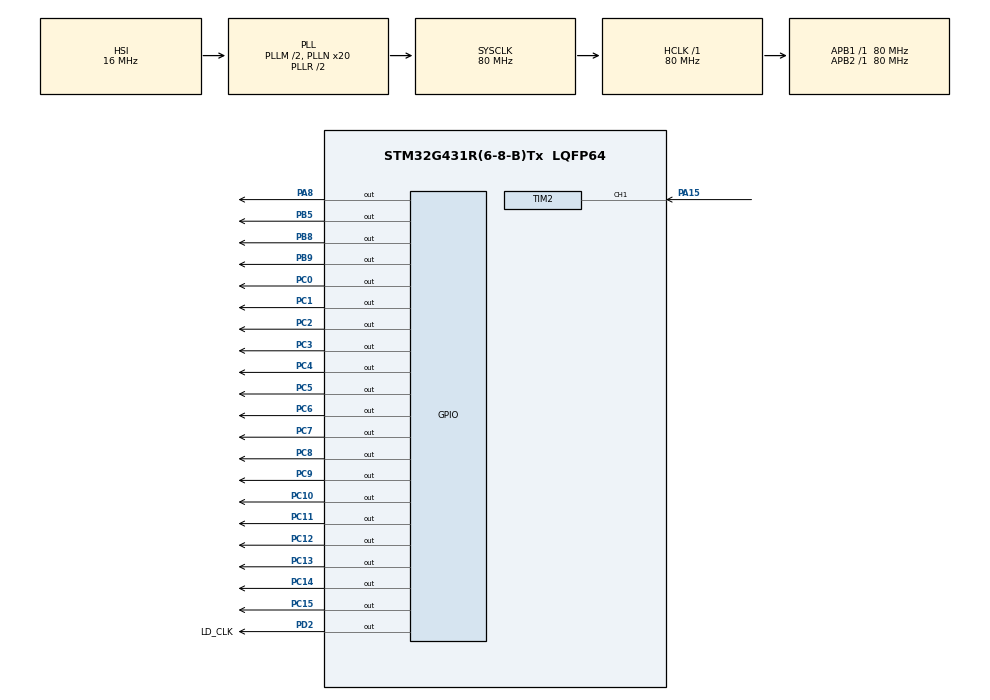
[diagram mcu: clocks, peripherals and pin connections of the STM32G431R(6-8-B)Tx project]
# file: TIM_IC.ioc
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Mcu.Family=STM32G4
Mcu.Name=STM32G431R(6-8-B)Tx
Mcu.Package=LQFP64
NVIC.PriorityGroup=NVIC_PRIORITYGROUP_4
NVIC.TIM2_IRQn=true\:0\:0\:false\:false\:true\:true\:true
PA15.Signal=S_TIM2_CH1
PA8.Signal=GPIO_Output
PB5.Signal=GPIO_Output
PB8-BOOT0.Signal=GPIO_Output
PB9.Signal=GPIO_Output
PC0.Signal=GPIO_Output
PC1.Signal=GPIO_Output
PC10.Signal=GPIO_Output
PC11.Signal=GPIO_Output
PC12.Signal=GPIO_Output
PC13.Signal=GPIO_Output
PC14-OSC32_IN.Signal=GPIO_Output
PC15-OSC32_OUT.Signal=GPIO_Output
PC2.Signal=GPIO_Output
PC3.Signal=GPIO_Output
PC4.Signal=GPIO_Output
PC5.Signal=GPIO_Output
PC6.Signal=GPIO_Output
PC7.Signal=GPIO_Output
PC8.Signal=GPIO_Output
PC9.Signal=GPIO_Output
PD2.GPIO_Label=LD_CLK
PD2.Signal=GPIO_Output
PF0-OSC_IN.Mode=HSE-External-Oscillator
PF0-OSC_IN.Signal=RCC_OSC_IN
PF1-OSC_OUT.Mode=HSE-External-Oscillator
PF1-OSC_OUT.Signal=RCC_OSC_OUT
ProjectManager.HeapSize=0x200
ProjectManager.StackSize=0x400
ProjectManager.TargetToolchain=MDK-ARM V5.27
RCC.ADC12Freq_Value=80000000
RCC.AHBFreq_Value=80000000
RCC.APB1Freq_Value=80000000
RCC.APB1TimFreq_Value=80000000
RCC.APB2Freq_Value=80000000
RCC.APB2TimFreq_Value=80000000
RCC.CortexFreq_Value=80000000
RCC.EXTERNAL_CLOCK_VALUE=12288000
RCC.HCLKFreq_Value=80000000
RCC.HSE_VALUE=24000000
RCC.HSI48_VALUE=48000000
RCC.HSI_VALUE=16000000
RCC.LSE_VALUE=32768
RCC.PLLM=RCC_PLLM_DIV2
RCC.PLLN=20
RCC.SYSCLKFreq_VALUE=80000000
RCC.SYSCLKSource=RCC_SYSCLKSOURCE_PLLCLK
RCC.USBFreq_Value=80000000
RCC.VCOOutputFreq_Value=160000000
SH.S_TIM2_CH1.0=TIM2_CH1,Input_Capture1_from_TI1
SH.S_TIM2_CH1.1=TIM2_CH1,Input_Capture2_from_TI1
SH.S_TIM2_CH1.2=TIM2_CH1,TriggerSource_TI1FP1
TIM2.Channel-Input_Capture1_from_TI1=TIM_CHANNEL_1
TIM2.Channel-Input_Capture2_from_TI1=TIM_CHANNEL_2
TIM2.ICPolarity_CH2=TIM_INPUTCHANNELPOLARITY_FALLING
TIM2.PeriodNoDither=0xffffffff
VP_SYS_VS_DBSignals.Mode=DisableDeadBatterySignals
VP_TIM2_VS_ClockSourceINT.Mode=Internal
VP_TIM2_VS_ControllerModeReset.Mode=Reset Mode
board=custom

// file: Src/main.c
/* USER CODE BEGIN Header */
/**
  ******************************************************************************
  * @file           : main.c
  * @brief          : Main program body
  ******************************************************************************
  * @attention
  *
  * <h2><center>&copy; Copyright (c) 2021 STMicroelectronics.
  * All rights reserved.</center></h2>
  *
  * This software component is licensed by ST under BSD 3-Clause license,
  * the "License"; You may not use this file except in compliance with the
  * License. You may obtain a copy of the License at:
  *                        opensource.org/licenses/BSD-3-Clause
  *
  ******************************************************************************
  */
/* USER CODE END Header */
#include "main.h"

/* USER CODE BEGIN Includes */
#include <stdio.h>
#include "lcd.h"
/* USER CODE END Includes */

TIM_HandleTypeDef htim2;

/* USER CODE BEGIN PV */
/* Captured Value */
__IO uint32_t            uwIC2Value = 0;
/* Duty Cycle Value */
__IO uint32_t            uwDutyCycle = 0;
/* Frequency Value */
__IO uint32_t            uwFrequency = 0;

uint8_t buf[30];
/* USER CODE END PV */

void SystemClock_Config(void);
static void MX_GPIO_Init(void);
static void MX_TIM2_Init(void);

int main(void)
{

  /* MCU Configuration--------------------------------------------------------*/

  /* Reset of all peripherals, Initializes the Flash interface and the Systick. */
  HAL_Init();

  /* Configure the system clock */
  SystemClock_Config();

  /* Initialize all configured peripherals */
  MX_GPIO_Init();
  MX_TIM2_Init();
  /* USER CODE BEGIN 2 */
	LCD_Init();
	LCD_Clear(White);
	LCD_SetBackColor(White);
	LCD_SetTextColor(Black);
	HAL_TIM_IC_Start_IT(&htim2, TIM_CHANNEL_1);
	HAL_TIM_IC_Start_IT(&htim2, TIM_CHANNEL_2);
  /* USER CODE END 2 */

  /* Infinite loop */
  while (1)
  {

  }
}

void SystemClock_Config(void)
{
  RCC_OscInitTypeDef RCC_OscInitStruct = {0};
  RCC_ClkInitTypeDef RCC_ClkInitStruct = {0};

  /** Configure the main internal regulator output voltage
  */
  HAL_PWREx_ControlVoltageScaling(PWR_REGULATOR_VOLTAGE_SCALE1);
  /** Initializes the RCC Oscillators according to the specified parameters
  * in the RCC_OscInitTypeDef structure.
  */
  RCC_OscInitStruct.OscillatorType = RCC_OSCILLATORTYPE_HSI;
  RCC_OscInitStruct.HSIState = RCC_HSI_ON;
  RCC_OscInitStruct.HSICalibrationValue = RCC_HSICALIBRATION_DEFAULT;
  RCC_OscInitStruct.PLL.PLLState = RCC_PLL_ON;
  RCC_OscInitStruct.PLL.PLLSource = RCC_PLLSOURCE_HSI;
  RCC_OscInitStruct.PLL.PLLM = RCC_PLLM_DIV2;
  RCC_OscInitStruct.PLL.PLLN = 20;
  RCC_OscInitStruct.PLL.PLLP = RCC_PLLP_DIV2;
  RCC_OscInitStruct.PLL.PLLQ = RCC_PLLQ_DIV2;
  RCC_OscInitStruct.PLL.PLLR = RCC_PLLR_DIV2;
  if (HAL_RCC_OscConfig(&RCC_OscInitStruct) != HAL_OK)
  {
    Error_Handler();
  }
  /** Initializes the CPU, AHB and APB buses clocks
  */
  RCC_ClkInitStruct.ClockType = RCC_CLOCKTYPE_HCLK|RCC_CLOCKTYPE_SYSCLK
                              |RCC_CLOCKTYPE_PCLK1|RCC_CLOCKTYPE_PCLK2;
  RCC_ClkInitStruct.SYSCLKSource = RCC_SYSCLKSOURCE_PLLCLK;
  RCC_ClkInitStruct.AHBCLKDivider = RCC_SYSCLK_DIV1;
  RCC_ClkInitStruct.APB1CLKDivider = RCC_HCLK_DIV1;
  RCC_ClkInitStruct.APB2CLKDivider = RCC_HCLK_DIV1;

  if (HAL_RCC_ClockConfig(&RCC_ClkInitStruct, FLASH_LATENCY_2) != HAL_OK)
  {
    Error_Handler();
  }
}

static void MX_TIM2_Init(void)
{

  TIM_ClockConfigTypeDef sClockSourceConfig = {0};
  TIM_SlaveConfigTypeDef sSlaveConfig = {0};
  TIM_MasterConfigTypeDef sMasterConfig = {0};
  TIM_IC_InitTypeDef sConfigIC = {0};

  htim2.Instance = TIM2;
  htim2.Init.Prescaler = 0;
  htim2.Init.CounterMode = TIM_COUNTERMODE_UP;
  htim2.Init.Period = 4.294967295E9;
  htim2.Init.ClockDivision = TIM_CLOCKDIVISION_DIV1;
  htim2.Init.AutoReloadPreload = TIM_AUTORELOAD_PRELOAD_DISABLE;
  if (HAL_TIM_Base_Init(&htim2) != HAL_OK)
  {
    Error_Handler();
  }
  sClockSourceConfig.ClockSource = TIM_CLOCKSOURCE_INTERNAL;
  if (HAL_TIM_ConfigClockSource(&htim2, &sClockSourceConfig) != HAL_OK)
  {
    Error_Handler();
  }
  if (HAL_TIM_IC_Init(&htim2) != HAL_OK)
  {
    Error_Handler();
  }
  sSlaveConfig.SlaveMode = TIM_SLAVEMODE_RESET;
  sSlaveConfig.InputTrigger = TIM_TS_TI1FP1;
  sSlaveConfig.TriggerPolarity = TIM_INPUTCHANNELPOLARITY_RISING;
  sSlaveConfig.TriggerFilter = 0;
  if (HAL_TIM_SlaveConfigSynchro(&htim2, &sSlaveConfig) != HAL_OK)
  {
    Error_Handler();
  }
  sMasterConfig.MasterOutputTrigger = TIM_TRGO_RESET;
  sMasterConfig.MasterSlaveMode = TIM_MASTERSLAVEMODE_DISABLE;
  if (HAL_TIMEx_MasterConfigSynchronization(&htim2, &sMasterConfig) != HAL_OK)
  {
    Error_Handler();
  }
  sConfigIC.ICPolarity = TIM_INPUTCHANNELPOLARITY_RISING;
  sConfigIC.ICSelection = TIM_ICSELECTION_DIRECTTI;
  sConfigIC.ICPrescaler = TIM_ICPSC_DIV1;
  sConfigIC.ICFilter = 0;
  if (HAL_TIM_IC_ConfigChannel(&htim2, &sConfigIC, TIM_CHANNEL_1) != HAL_OK)
  {
    Error_Handler();
  }
  sConfigIC.ICPolarity = TIM_INPUTCHANNELPOLARITY_FALLING;
  sConfigIC.ICSelection = TIM_ICSELECTION_INDIRECTTI;
  if (HAL_TIM_IC_ConfigChannel(&htim2, &sConfigIC, TIM_CHANNEL_2) != HAL_OK)
  {
    Error_Handler();
  }

}

static void MX_GPIO_Init(void)
{
  GPIO_InitTypeDef GPIO_InitStruct = {0};

  /* GPIO Ports Clock Enable */
  __HAL_RCC_GPIOC_CLK_ENABLE();
  __HAL_RCC_GPIOF_CLK_ENABLE();
  __HAL_RCC_GPIOA_CLK_ENABLE();
  __HAL_RCC_GPIOD_CLK_ENABLE();
  __HAL_RCC_GPIOB_CLK_ENABLE();

  /*Configure GPIO pin Output Level */
  HAL_GPIO_WritePin(GPIOC, GPIO_PIN_13|GPIO_PIN_14|GPIO_PIN_15|GPIO_PIN_0
                          |GPIO_PIN_1|GPIO_PIN_2|GPIO_PIN_3|GPIO_PIN_4
                          |GPIO_PIN_5|GPIO_PIN_6|GPIO_PIN_7|GPIO_PIN_8
                          |GPIO_PIN_9|GPIO_PIN_10|GPIO_PIN_11|GPIO_PIN_12, GPIO_PIN_RESET);

  /*Configure GPIO pin Output Level */
  HAL_GPIO_WritePin(GPIOA, GPIO_PIN_8, GPIO_PIN_RESET);

  /*Configure GPIO pin Output Level */
  HAL_GPIO_WritePin(LD_CLK_GPIO_Port, LD_CLK_Pin, GPIO_PIN_RESET);

  /*Configure GPIO pin Output Level */
  HAL_GPIO_WritePin(GPIOB, GPIO_PIN_5|GPIO_PIN_8|GPIO_PIN_9, GPIO_PIN_RESET);

  /*Configure GPIO pins : PC13 PC14 PC15 PC0
                           PC1 PC2 PC3 PC4
                           PC5 PC6 PC7 PC8
                           PC9 PC10 PC11 PC12 */
  GPIO_InitStruct.Pin = GPIO_PIN_13|GPIO_PIN_14|GPIO_PIN_15|GPIO_PIN_0
                          |GPIO_PIN_1|GPIO_PIN_2|GPIO_PIN_3|GPIO_PIN_4
                          |GPIO_PIN_5|GPIO_PIN_6|GPIO_PIN_7|GPIO_PIN_8
                          |GPIO_PIN_9|GPIO_PIN_10|GPIO_PIN_11|GPIO_PIN_12;
  GPIO_InitStruct.Mode = GPIO_MODE_OUTPUT_PP;
  GPIO_InitStruct.Pull = GPIO_NOPULL;
  GPIO_InitStruct.Speed = GPIO_SPEED_FREQ_LOW;
  HAL_GPIO_Init(GPIOC, &GPIO_InitStruct);

  /*Configure GPIO pin : PA8 */
  GPIO_InitStruct.Pin = GPIO_PIN_8;
  GPIO_InitStruct.Mode = GPIO_MODE_OUTPUT_PP;
  GPIO_InitStruct.Pull = GPIO_NOPULL;
  GPIO_InitStruct.Speed = GPIO_SPEED_FREQ_LOW;
  HAL_GPIO_Init(GPIOA, &GPIO_InitStruct);

  /*Configure GPIO pin : LD_CLK_Pin */
  GPIO_InitStruct.Pin = LD_CLK_Pin;
  GPIO_InitStruct.Mode = GPIO_MODE_OUTPUT_PP;
  GPIO_InitStruct.Pull = GPIO_NOPULL;
  GPIO_InitStruct.Speed = GPIO_SPEED_FREQ_LOW;
  HAL_GPIO_Init(LD_CLK_GPIO_Port, &GPIO_InitStruct);

  /*Configure GPIO pins : PB5 PB8 PB9 */
  GPIO_InitStruct.Pin = GPIO_PIN_5|GPIO_PIN_8|GPIO_PIN_9;
  GPIO_InitStruct.Mode = GPIO_MODE_OUTPUT_PP;
  GPIO_InitStruct.Pull = GPIO_NOPULL;
  GPIO_InitStruct.Speed = GPIO_SPEED_FREQ_LOW;
  HAL_GPIO_Init(GPIOB, &GPIO_InitStruct);

}

/* USER CODE BEGIN 4 */
void HAL_TIM_IC_CaptureCallback(TIM_HandleTypeDef *htim)
{
  if (htim->Channel == HAL_TIM_ACTIVE_CHANNEL_1)
  {
    /* Get the Input Capture value */
    uwIC2Value = HAL_TIM_ReadCapturedValue(&htim2, TIM_CHANNEL_1);

    if (uwIC2Value != 0)
    {
      /* Duty cycle computation */
      uwDutyCycle = ((HAL_TIM_ReadCapturedValue(&htim2, TIM_CHANNEL_2)) * 100) / uwIC2Value;

      /* uwFrequency computation
      TIM1 counter clock = (System Clock) */
      uwFrequency = ( HAL_RCC_GetSysClockFreq()  ) / uwIC2Value;
			sprintf((char *)buf, "  Fre: %d       ", uwFrequency);
			LCD_DisplayStringLine(Line1, buf);

			sprintf((char *)buf, "  Duty: %d       ", uwDutyCycle);
			LCD_DisplayStringLine(Line2, buf);
    }
    else
    {
      uwDutyCycle = 0;
      uwFrequency = 0;
    }
  }
}
/* USER CODE END 4 */

void Error_Handler(void)
{
  __disable_irq();
  while (1)
  {
  }
}

/************************ (C) COPYRIGHT STMicroelectronics *****END OF FILE****/
